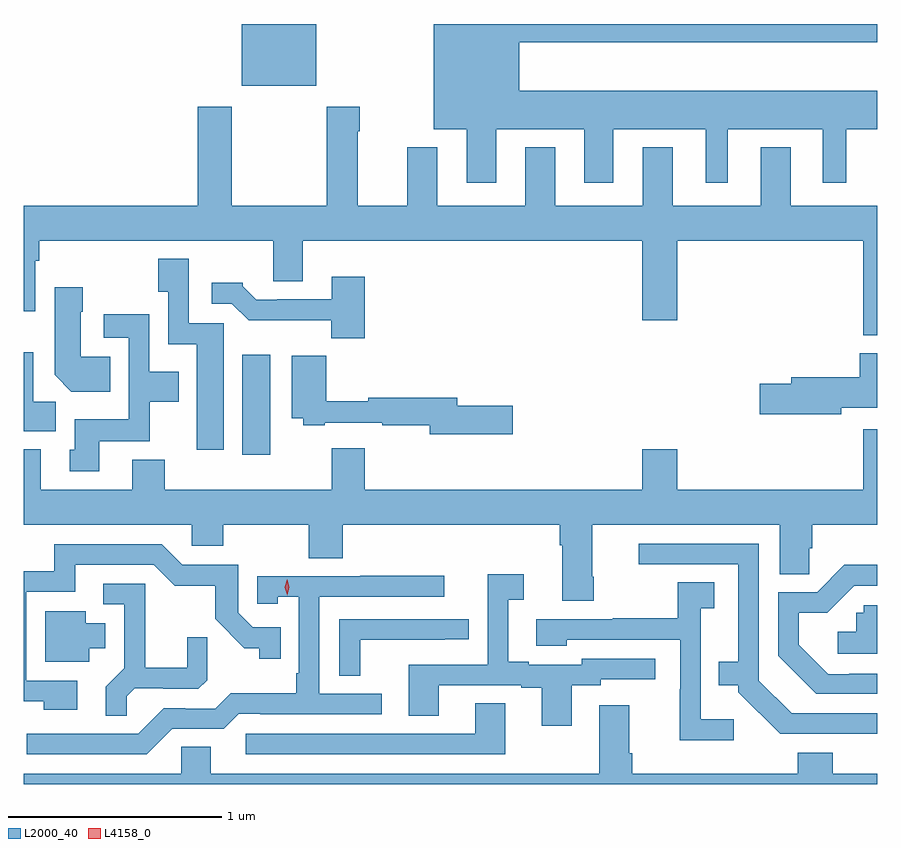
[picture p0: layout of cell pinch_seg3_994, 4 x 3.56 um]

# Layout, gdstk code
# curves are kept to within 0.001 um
import gdstk
lib = gdstk.Library(unit=1e-6, precision=1e-09)
def R(c, l, rs):  # rectangles x0, y0, x1, y1
    for r in rs: c.add(gdstk.rectangle(r[:2], r[2:], *l))
def P(c, l, *ps):  # polygons
    for p in ps: c.add(gdstk.Polygon(p, *l))
L2000_40 = (2000, 40)
L4158_0 = (4158, 0)

pinch_seg3_994 = lib.new_cell('pinch_seg3_994')
R(pinch_seg3_994, L2000_40, [(486.809,667.944,486.94,668.413), (486.806,669.674,487.156,669.963)])
P(pinch_seg3_994, L2000_40, [(487.999,669.47),(488.411,669.47),(488.411,669.219),(488.548,669.219),(488.548,669.47),(488.981,669.47),(488.981,669.219),(489.085,669.219),(489.085,669.47),(489.53,669.47),(489.53,669.219),(489.64,669.219),(489.64,669.47),(489.785,669.47),(489.785,669.649),(488.107,669.649),(488.107,669.878),(489.785,669.878),(489.785,669.963),(487.706,669.963),(487.706,669.47),(487.862,669.47),(487.862,669.219),(487.999,669.219)],
  [(489.785,669.112),(489.379,669.112),(489.379,669.385),(489.239,669.385),(489.239,669.112),(488.827,669.112),(488.827,669.385),(488.687,669.385),(488.687,669.112),(488.275,669.112),(488.275,669.385),(488.135,669.385),(488.135,669.112),(487.723,669.112),(487.723,669.385),(487.583,669.385),(487.583,669.112),(487.351,669.112),(487.351,669.461),(487.359,669.461),(487.359,669.574),(487.204,669.574),(487.204,669.112),(486.759,669.112),(486.759,669.574),(486.599,669.574),(486.599,669.112),(485.785,669.112),(485.785,668.616),(485.838,668.616),(485.838,668.852),(485.858,668.852),(485.858,668.948),(486.953,668.948),(486.953,668.758),(487.093,668.758),(487.093,668.948),(488.684,668.948),(488.684,668.574),(488.848,668.574),(488.848,668.948),(489.72,668.948),(489.72,668.504),(489.785,668.504)],
  [(486.721,668.559),(486.558,668.559),(486.558,668.863),(486.415,668.863),(486.415,668.707),(486.462,668.707),(486.462,668.462),(486.596,668.462),(486.596,667.968),(486.721,667.968)],
  [(487.382,668.779),(487.229,668.779),(487.229,668.673),(486.973,668.673),(486.973,668.67),(486.874,668.67),(486.81,668.734),(486.81,668.749),(486.666,668.749),(486.666,668.652),(486.759,668.652),(486.838,668.574),(487.227,668.574),(487.227,668.489),(487.382,668.489)],
  [(486.191,668.404),(486.052,668.404),(486.052,668.615),(486.06,668.615),(486.06,668.728),(485.93,668.728),(485.93,668.318),(486.008,668.24),(486.191,668.24)],
  [(486.139,668.006),(486.375,668.006),(486.375,668.192),(486.511,668.192),(486.511,668.332),(486.372,668.332),(486.372,668.602),(486.159,668.602),(486.159,668.493),(486.276,668.493),(486.276,668.11),(486.023,668.11),(486.023,667.968),(485.999,667.968),(485.999,667.866),(486.139,667.866)],
  [(485.935,668.192),(485.83,668.192),(485.83,668.425),(485.785,668.425),(485.785,668.054),(485.935,668.054)],
  [(489.618,668.165),(489.785,668.165),(489.785,668.419),(489.704,668.419),(489.704,668.306),(489.383,668.306),(489.383,668.276),(489.234,668.276),(489.234,668.134),(489.618,668.134)],
  [(488.077,668.174),(487.816,668.174),(487.816,668.21),(487.4,668.21),(487.4,668.195),(487.202,668.195),(487.202,668.407),(487.04,668.407),(487.04,668.114),(487.095,668.114),(487.095,668.082),(487.195,668.082),(487.195,668.094),(487.465,668.094),(487.465,668.082),(487.688,668.082),(487.688,668.039),(488.077,668.039)],
  [(488.457,667.372),(488.449,667.372),(488.449,667.616),(489.329,667.616),(489.329,667.384),(489.467,667.384),(489.467,667.506),(489.482,667.506),(489.482,667.616),(489.785,667.616),(489.785,668.062),(489.72,668.062),(489.72,667.78),(488.848,667.78),(488.848,667.969),(488.684,667.969),(488.684,667.78),(487.382,667.78),(487.382,667.975),(487.229,667.975),(487.229,667.78),(486.446,667.78),(486.446,667.921),(486.293,667.921),(486.293,667.78),(485.863,667.78),(485.863,667.969),(485.785,667.969),(485.785,667.616),(486.573,667.616),(486.573,667.518),(486.72,667.518),(486.72,667.616),(487.12,667.616),(487.12,667.459),(487.28,667.459),(487.28,667.616),(488.297,667.616),(488.297,667.52),(488.309,667.52),(488.309,667.26),(488.457,667.26)],
  [(489.785,666.732),(489.384,666.732),(489.231,666.885),(489.231,667.527),(488.667,667.527),(488.667,667.431),(489.134,667.431),(489.134,666.973),(489.043,666.973),(489.043,666.863),(489.135,666.863),(489.135,666.831),(489.33,666.636),(489.785,666.635)],
  [(486.034,666.885),(485.796,666.885),(485.796,667.302),(486.025,667.302),(486.025,667.428),(486.393,667.428),(486.492,667.33),(486.681,667.33),(486.681,667.174),(486.818,667.037),(486.888,667.037),(486.888,666.987),(486.989,666.987),(486.989,667.134),(486.858,667.134),(486.789,667.203),(486.789,667.428),(486.528,667.428),(486.432,667.524),(485.927,667.524),(485.927,667.398),(485.785,667.398),(485.785,666.789),(485.878,666.789),(485.878,666.749),(486.034,666.749)],
  [(489.785,666.918),(489.655,666.918),(489.655,666.915),(489.555,666.915),(489.418,667.052),(489.418,667.202),(489.551,667.202),(489.678,667.329),(489.785,667.329),(489.785,667.427),(489.632,667.427),(489.504,667.299),(489.321,667.299),(489.321,667.001),(489.5,666.822),(489.785,666.822)],
  [(488.353,666.864),(488.49,666.864),(488.49,666.891),(488.746,666.891),(488.746,666.987),(488.4,666.987),(488.4,666.96),(488.152,666.96),(488.152,666.973),(488.056,666.973),(488.056,667.264),(488.128,667.264),(488.128,667.384),(487.959,667.384),(487.959,666.96),(487.589,666.96),(487.589,666.721),(487.729,666.721),(487.729,666.864),(488.117,666.864),(488.117,666.852),(488.213,666.852),(488.213,666.672),(488.353,666.672)],
  [(486.48,666.66),(486.723,666.66),(486.792,666.729),(486.892,666.729),(486.892,666.726),(487.462,666.726),(487.462,666.822),(487.17,666.822),(487.17,667.278),(487.756,667.278),(487.756,667.377),(487.363,667.377),(487.363,667.374),(486.879,667.374),(486.879,667.245),(486.975,667.245),(486.975,667.277),(487.074,667.277),(487.074,666.919),(487.062,666.919),(487.062,666.826),(486.754,666.826),(486.681,666.753),(486.542,666.753),(486.542,666.756),(486.441,666.756),(486.321,666.636),(485.798,666.636),(485.798,666.54),(486.36,666.54)],
  [(489.112,666.703),(488.958,666.703),(488.958,667.225),(489.022,667.225),(489.022,667.346),(488.85,667.346),(488.85,667.176),(488.545,667.176),(488.545,667.173),(488.187,667.173),(488.187,667.049),(488.331,667.049),(488.331,667.077),(488.862,667.077),(488.862,666.845),(488.86,666.845),(488.86,666.605),(489.112,666.605)],
  [(486.267,666.812),(486.304,666.849),(486.438,666.849),(486.438,666.846),(486.603,666.846),(486.644,666.887),(486.644,667.089),(486.55,667.089),(486.55,666.946),(486.353,666.946),(486.353,667.338),(486.156,667.338),(486.156,667.242),(486.255,667.242),(486.255,666.943),(486.169,666.857),(486.169,666.721),(486.267,666.721)],
  [(489.785,667.239),(489.723,667.239),(489.723,667.203),(489.687,667.203),(489.687,667.114),(489.6,667.114),(489.6,667.011),(489.785,667.011)],
  [(486.091,667.037),(486.166,667.037),(486.166,667.153),(486.076,667.153),(486.076,667.21),(485.885,667.21),(485.885,666.974),(486.091,666.974)],
  [(487.362,667.077),(487.757,667.077),(487.757,667.078),(487.87,667.078),(487.87,667.173),(487.263,667.173),(487.263,666.907),(487.362,666.907)],
  [(488.041,666.779),(487.901,666.779),(487.901,666.636),(486.825,666.636),(486.825,666.54),(488.041,666.54)],
  [(489.785,666.448),(489.578,666.448),(489.578,666.547),(489.413,666.547),(489.413,666.448),(488.636,666.448),(488.636,666.544),(488.623,666.544),(488.623,666.769),(488.483,666.769),(488.483,666.448),(486.661,666.448),(486.661,666.575),(486.522,666.575),(486.522,666.448),(485.785,666.448),(485.785,666.4),(489.785,666.4)])
P(pinch_seg3_994, L4158_0, [(487.019,667.286),(487.019,667.287),(487.009,667.323),(487.019,667.359),(487.019,667.359),(487.019,667.359),(487.029,667.323),(487.019,667.287)])

lib.write_gds('pinch_seg3_994.gds')
